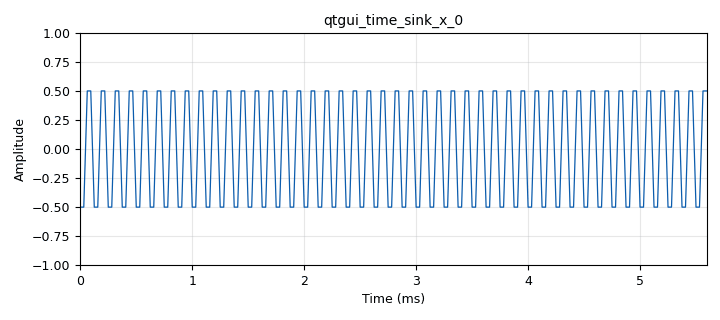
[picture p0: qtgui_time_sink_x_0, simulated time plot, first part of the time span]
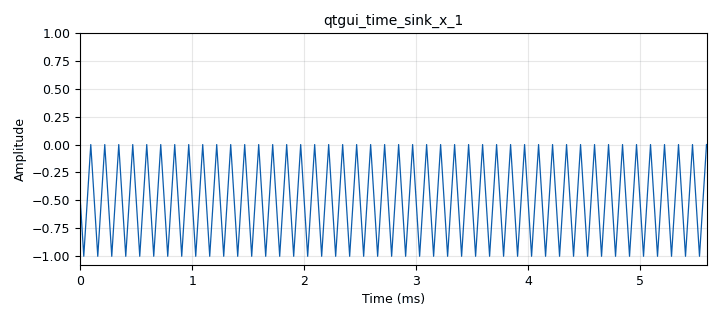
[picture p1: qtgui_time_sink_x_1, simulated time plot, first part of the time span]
options:
  parameters:
    author: Silvia Leon / Laura vilbao
    generate_options: qt_gui
    id: untitled
    output_language: python
    title: Practica 1
  states: {}

blocks:
- name: samp_rate
  id: variable
  parameters:
    value: '32000'
  states: {}
- name: analog_sig_source_x_0
  id: analog_sig_source_x
  parameters:
    amp: '1'
    freq: '8000'
    offset: '-0.5'
    phase: '0'
    samp_rate: samp_rate
    type: float
    waveform: analog.GR_SQR_WAVE
  states: {}
- name: epy_block_0
  id: epy_block
  parameters:
    _source_code: |-
      import numpy as np
      from gnuradio import gr

      class blk(gr.sync_block):
          def __init__(self):
              gr.sync_block.__init__(
                  self,
                  name='Acumulador',
                  in_sig=[np.float32],
                  out_sig=[np.float32]
              )
              self.acum_anterior = 0.0

          def work(self, input_items, output_items):
              x = input_items[0]
              y0 = output_items[0]
              
              N = len(x)
              if N > 0:
                  acum = self.acum_anterior + np.cumsum(x)
                  self.acum_anterior = acum[-1]
                  y0[:] = acum
              return len(x)
  states: {}
- name: qtgui_time_sink_x_0
  id: qtgui_time_sink_x
  parameters:
    size: '1024'
    srate: samp_rate
    type: float
  states: {}
- name: qtgui_time_sink_x_1
  id: qtgui_time_sink_x
  parameters:
    size: '1024'
    srate: samp_rate
    type: float
  states: {}

connections:
- [analog_sig_source_x_0, '0', epy_block_0, '0']
- [analog_sig_source_x_0, '0', qtgui_time_sink_x_0, '0']
- [epy_block_0, '0', qtgui_time_sink_x_1, '0']

metadata:
  file_format: 1
  grc_version: 3.10.9.2
